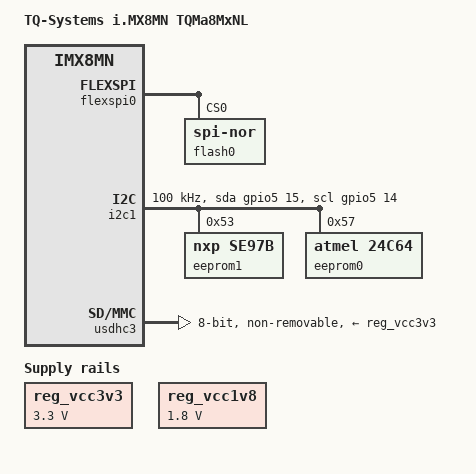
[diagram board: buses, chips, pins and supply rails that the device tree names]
// SPDX-License-Identifier: GPL-2.0+
/*
 * Copyright 2020 - 2021 TQ-Systems GmbH
 */

#include "fsl-imx8mn.dtsi"

/ {
	model = "TQ-Systems i.MX8MN TQMa8MxNL";
	compatible = "tq,imx8mn-tqma8mxnl", "fsl,imx8mn";

	/* TODO: move to -u-boot.dtsi */
	config {
		/* 32 kiB redundant env */
		u-boot,mmc-env-offset = <0x400000>;
		u-boot,mmc-env-offset-redundant = <0x408000>;
	};

	reg_vcc3v3: regulator-vcc3v3 {
		compatible = "regulator-fixed";
		regulator-name = "TQMA8MXNL_VCC3V3";
		regulator-min-microvolt = <3300000>;
		regulator-max-microvolt = <3300000>;
		regulator-always-on;
	};

	/* e-MMC IO, needed for HS modes */
	reg_vcc1v8: regulator-vcc1v8 {
		compatible = "regulator-fixed";
		regulator-name = "TQMA8MXNL_VCC1V8";
		regulator-min-microvolt = <1800000>;
		regulator-max-microvolt = <1800000>;
		regulator-always-on;
	};
};

&flexspi0 {
	pinctrl-names = "default";
	pinctrl-0 = <&pinctrl_flexspi0>;
	spi-max-frequency = <29000000>;
	num-cs = <1>;
	status = "okay";

	flash0: flash@0 {
		reg = <0>;
		#address-cells = <1>;
		#size-cells = <1>;
		compatible = "jedec,spi-nor";
		/* TODO: move bus-width to -u-boot.dtsi */
		spi-tx-bus-width = <1>;
		spi-rx-bus-width = <1>;
		spi-nor,ddr-quad-read-dummy = <6>;
	};
};

&iomuxc {
	pinctrl-names = "default";
	pinctrl-0 = <&pinctrl_wdog>;
	/*
	Pad Control Register

	| 0  | 0    | 0   | 0   | 0x   | 00x |
	| PE | HYS  | PUE | ODE | FSEL | DSE |

	PE: Pull Resistors Enable
	HYS: Hysteresis Enable

	PUE:
	0 — Select pull-down resistors
	1 — Select pull-up resistors

	ODE: Open Drain Enable

	FSEL:
	0x - Select slow slew rate (SR=1)
	1x — Select fast slew rate (SR=0)

	DSE:
	00x — Drive strength X1
	10x — Drive strength X2
	01x — Drive strength X4
	11x — Drive strength X6

	GPIO: 0x84 [HYS|slow|X2] (no pull up)
	I2C: 0x400001C4 [SION|PE|HYS|PUE|slow|x2]
	UDHC: 0x1D4 [HYS|fast|x2] (pull up)
	UDHC100: 0x1D2 [HYS|fast|x4] (pull up)
	UDHC200: 0x1D6 [HYS|fast|x6] (pull up)
	*/

	pinctrl_i2c1: i2c1grp {
		fsl,pins = <
			/* TODO: kernel uses 0x40000090 */
			MX8MN_IOMUXC_I2C1_SCL__I2C1_SCL		0x400001C4
			MX8MN_IOMUXC_I2C1_SDA__I2C1_SDA		0x400001C4
		>;
	};

	pinctrl_i2c1_gpio: i2c1gpiogrp {
		fsl,pins = <
			MX8MN_IOMUXC_I2C1_SCL__GPIO5_IO14	0x40000004
			MX8MN_IOMUXC_I2C1_SDA__GPIO5_IO15	0x40000004
		>;
	};

	pinctrl_flexspi0: flexspi0grp {
		fsl,pins = <
			/* TODO: kernel uses 0x84 */
			MX8MN_IOMUXC_NAND_ALE__QSPI_A_SCLK 	0x1c4
			MX8MN_IOMUXC_NAND_CE0_B__QSPI_A_SS0_B 	0x84
			MX8MN_IOMUXC_NAND_DATA00__QSPI_A_DATA0 	0x84
			MX8MN_IOMUXC_NAND_DATA01__QSPI_A_DATA1 	0x84
			MX8MN_IOMUXC_NAND_DATA02__QSPI_A_DATA2 	0x84
			MX8MN_IOMUXC_NAND_DATA03__QSPI_A_DATA3 	0x84
		>;
	};

	pinctrl_emmc: usdhc3grp {
		fsl,pins = <
			MX8MN_IOMUXC_NAND_WE_B__USDHC3_CLK		0x1d4
			MX8MN_IOMUXC_NAND_WP_B__USDHC3_CMD		0x1d4
			MX8MN_IOMUXC_NAND_DATA04__USDHC3_DATA0		0x1d4
			MX8MN_IOMUXC_NAND_DATA05__USDHC3_DATA1		0x1d4
			MX8MN_IOMUXC_NAND_DATA06__USDHC3_DATA2		0x1d4
			MX8MN_IOMUXC_NAND_DATA07__USDHC3_DATA3		0x1d4
			MX8MN_IOMUXC_NAND_RE_B__USDHC3_DATA4		0x1d4
			MX8MN_IOMUXC_NAND_CE2_B__USDHC3_DATA5		0x1d4
			MX8MN_IOMUXC_NAND_CE3_B__USDHC3_DATA6		0x1d4
			MX8MN_IOMUXC_NAND_CLE__USDHC3_DATA7		0x1d4
			MX8MN_IOMUXC_NAND_CE1_B__USDHC3_STROBE		0x84
			MX8MN_IOMUXC_NAND_READY_B__USDHC3_RESET_B	0x84
		>;
	};

	pinctrl_emmc_100mhz: usdhc3grp100mhz {
		fsl,pins = <
			MX8MN_IOMUXC_NAND_WE_B__USDHC3_CLK		0x1d2
			MX8MN_IOMUXC_NAND_WP_B__USDHC3_CMD		0x1d2
			MX8MN_IOMUXC_NAND_DATA04__USDHC3_DATA0		0x1d2
			MX8MN_IOMUXC_NAND_DATA05__USDHC3_DATA1		0x1d2
			MX8MN_IOMUXC_NAND_DATA06__USDHC3_DATA2		0x1d2
			MX8MN_IOMUXC_NAND_DATA07__USDHC3_DATA3		0x1d2
			MX8MN_IOMUXC_NAND_RE_B__USDHC3_DATA4		0x1d2
			MX8MN_IOMUXC_NAND_CE2_B__USDHC3_DATA5		0x1d2
			MX8MN_IOMUXC_NAND_CE3_B__USDHC3_DATA6		0x1d2
			MX8MN_IOMUXC_NAND_CLE__USDHC3_DATA7		0x1d2
			MX8MN_IOMUXC_NAND_CE1_B__USDHC3_STROBE		0x84
			MX8MN_IOMUXC_NAND_READY_B__USDHC3_RESET_B	0x84
		>;
	};

	pinctrl_emmc_200mhz: usdhc3grp200mhz {
		fsl,pins = <
			MX8MN_IOMUXC_NAND_WE_B__USDHC3_CLK		0x1d6
			MX8MN_IOMUXC_NAND_WP_B__USDHC3_CMD		0x1d6
			MX8MN_IOMUXC_NAND_DATA04__USDHC3_DATA0		0x1d6
			MX8MN_IOMUXC_NAND_DATA05__USDHC3_DATA1		0x1d6
			MX8MN_IOMUXC_NAND_DATA06__USDHC3_DATA2		0x1d6
			MX8MN_IOMUXC_NAND_DATA07__USDHC3_DATA3		0x1d6
			MX8MN_IOMUXC_NAND_RE_B__USDHC3_DATA4		0x1d6
			MX8MN_IOMUXC_NAND_CE2_B__USDHC3_DATA5		0x1d6
			MX8MN_IOMUXC_NAND_CE3_B__USDHC3_DATA6		0x1d6
			MX8MN_IOMUXC_NAND_CLE__USDHC3_DATA7		0x1d6
			MX8MN_IOMUXC_NAND_CE1_B__USDHC3_STROBE		0x84
			MX8MN_IOMUXC_NAND_READY_B__USDHC3_RESET_B	0x84
		>;
	};

	pinctrl_wdog: wdoggrp {
		fsl,pins = <
			/* TODO: kernel uses 0xc6 */
			MX8MN_IOMUXC_GPIO1_IO02__WDOG1_WDOG_B		0x84
		>;
	};
};

&i2c1 {
	clock-frequency = <100000>;
	pinctrl-names = "default", "gpio";
	pinctrl-0 = <&pinctrl_i2c1>;
	pinctrl-1 = <&pinctrl_i2c1_gpio>;
	scl-gpios = <&gpio5 14 GPIO_ACTIVE_HIGH>;
	sda-gpios = <&gpio5 15 GPIO_ACTIVE_HIGH>;
	status = "okay";

	eeprom1: eeprom@53 {
		compatible = "nxp,se97b", "atmel,24c02";
		reg = <0x53>;
		pagesize = <16>;
	};

	eeprom0: eeprom@57 {
		compatible = "atmel,24c64";
		reg = <0x57>;
		pagesize = <32>;
	};
};

&usdhc3 {
	pinctrl-names = "default", "state_100mhz", "state_200mhz";
	pinctrl-0 = <&pinctrl_emmc>;
	pinctrl-1 = <&pinctrl_emmc_100mhz>;
	pinctrl-2 = <&pinctrl_emmc_200mhz>;
	bus-width = <8>;
	non-removable;
	no-sd;
	no-sdio;
	/* TODO: move to -u-boot.dtsi */
	mmc-hs400-1_8v;
	vmmc-supply = <&reg_vcc3v3>;
	vqmmc-supply = <&reg_vcc1v8>;
	status = "okay";
};
